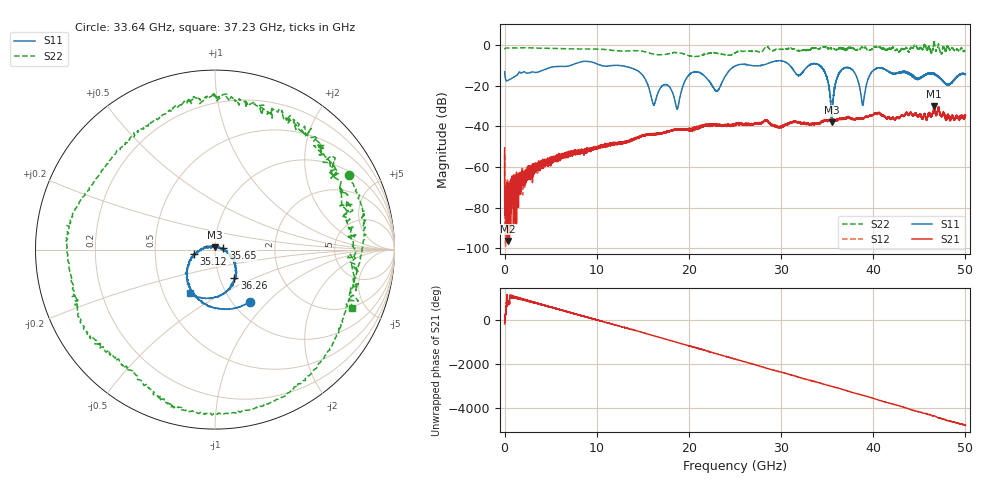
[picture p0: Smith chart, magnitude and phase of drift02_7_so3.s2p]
!Created with skrf (http://scikit-rf.org).
# Hz S RI R 50.0
!freq ReS11 ImS11 ReS21 ImS21 ReS12 ImS12 ReS22 ImS22
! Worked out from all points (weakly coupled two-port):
!   10001 points, 300 kHz to 50 GHz, reference 50 ohm
!   highest |S21| = -30.11 dB at 46.6 GHz (marker M1); lowest = -96.4 dB at 325.3 MHz (marker M2)
!   lowest |S11| = -37.9 dB at 35.51 GHz (marker M3), VSWR 1.03, Z = 50.1 + j1.26 ohm
!   |S11| at or under -10 dB: start of sweep to 7.174 GHz; 12.29 GHz to 25.17 GHz (12.88 GHz wide, 68.8 % of centre); 34.2 GHz to end of sweep (the widest 3 of 20)
!   |S22| runs from -5.7 to 2.3 dB; largest |S21 - S12| = 0.0037
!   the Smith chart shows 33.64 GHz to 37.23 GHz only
!   S11 on the Smith chart (normalised r, x): 33.64 GHz: 1.19, -0.79; 35.12 GHz: 0.79, -0.04; 35.65 GHz: 1.10, +0.02; 36.26 GHz: 1.18, -0.38; 37.23 GHz: 0.68, -0.36
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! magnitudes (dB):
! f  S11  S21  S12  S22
! 300 kHz  -13.1  -50.6  -53.8  -2.1
! 325.3 MHz  -17.5  -96.4  -70.7  -1.4
! 8.335 GHz  -8.2  -51.3  -52.9  -1.9
! 14.01 GHz  -11.7  -46.2  -46.4  -2.8
! 16.14 GHz  -29.3  -43.8  -44.3  -4.4
! 16.67 GHz  -23.2  -43.6  -43.6  -4.8
! 18.74 GHz  -31.5  -41.5  -41.5  -3.8
! 20.24 GHz  -13.8  -41.4  -41.2  -5.4
! 23.03 GHz  -22.7  -38.7  -39.3  -4.1
! 25 GHz  -10.3  -39.0  -39.2  -3.9
! 33.34 GHz  -9.3  -38.6  -38.9  -1.6
! 33.64 GHz  -9.1  -39.0  -38.5  -1.4
! 35.12 GHz  -18.5  -37.3  -37.2  -1.7
! 35.51 GHz  -37.9  -37.0  -36.8  -1.8
! 35.65 GHz  -26.4  -36.8  -36.9  -1.6
! 36.26 GHz  -14.4  -36.4  -36.4  -1.8
! 37.23 GHz  -11.1  -35.9  -35.7  -1.6
! 38.86 GHz  -29.7  -35.9  -35.9  -1.3
! 39.94 GHz  -12.8  -34.4  -34.6  -1.9
! 41.67 GHz  -13.1  -35.6  -35.8  -1.8
! 46.6 GHz  -14.3  -30.1  -30.2  1.9
! 50 GHz  -14.5  -34.8  -34.8  -2.6
